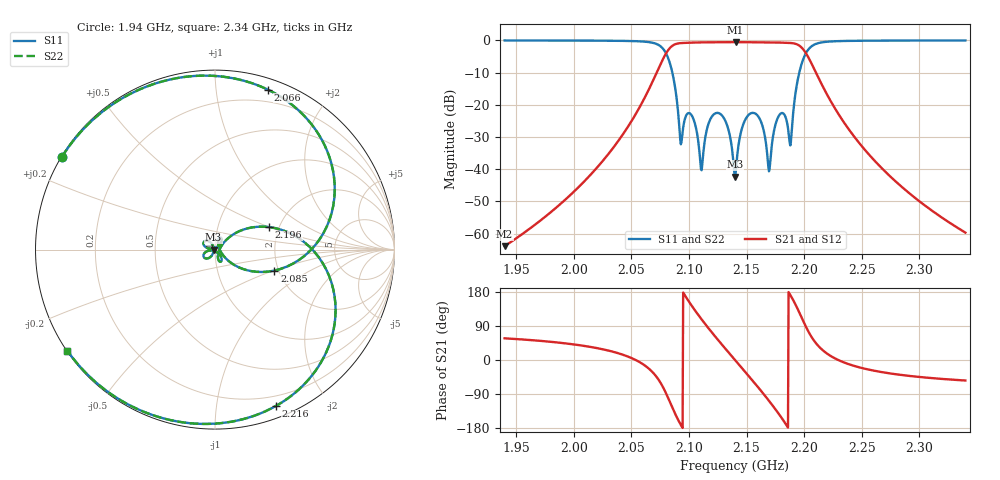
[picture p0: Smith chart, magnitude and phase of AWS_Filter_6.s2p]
!Port 1 is shunt  connected
!Port 2 is shunt  connected
!prototype= pole placed tchebycheff
!n=  5,  np= 0,  rl=  22.000dB
!transform= band pass
!f0= 2140.000MHz,  bw=  100.000MHz, q0=1050.000
!fstart= 1940.000MHz, fstep=  0.500MHz, fstop= 2340.000MHz
# MHZ S MA R 50
!Freq  Mag(S11)  Arg(S11)  Mag(S21)  Arg(S21)  Mag(S12)  Arg(S12)  Mag(S22)  Arg(S22)
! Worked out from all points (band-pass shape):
!   801 points, 1.94 GHz to 2.34 GHz, reference 50 ohm
!   highest |S21| = -0.55 dB at 2.14 GHz (marker M1); lowest = -63.9 dB at 1.94 GHz (marker M2)
!   |S21| within 3 dB of the highest: 2.081 GHz to 2.201 GHz (119.8 MHz wide, 5.6 % of centre)
!   lowest |S11| = -42.3 dB at 2.14 GHz (marker M3), VSWR 1.02, Z = 49.2 - j0.000171 ohm
!   |S11| at or under -10 dB: 2.086 GHz to 2.196 GHz (110.2 MHz wide, 5.15 % of centre)
!   |S22| runs from -42.3 to 0.0 dB; largest |S21 - S12| = 0
!   S11 on the Smith chart (normalised r, x): 1.94 GHz: 0.00, +0.28; 2.066 GHz: 0.09, +1.38; 2.085 GHz: 1.90, -0.51; 2.196 GHz: 1.78, +0.50; 2.216 GHz: 0.10, -1.46; 2.34 GHz: 0.00, -0.31
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1940  0.9969 148.8  0.0006383 57.2  0.0006383 57.2  0.9969 148.8
2007  0.9923 130.6  0.00591 38.2  0.00591 38.2  0.9923 130.6
2065.5  0.9386 71.7  0.1776 -23.6  0.1776 -23.6  0.9386 71.7
2073.5  0.8516 45.4  0.3616 -51.3  0.3616 -51.3  0.8516 45.4
2085  0.351 -19.5  0.8085 -121.4  0.8085 -121.4  0.351 -19.5
2093  0.02438 16.0  0.9074 -171.4  0.9074 -171.4  0.02438 16.0
2101.5  0.07186 59.8  0.9211 147.3  0.9211 147.3  0.07186 59.8
2112.5  0.01798 161.1  0.9317 101.3  0.9317 101.3  0.01798 161.1
2118  0.05658 164.2  0.933 79.9  0.933 79.9  0.05658 164.2
2126  0.07408 141.2  0.9344 50.3  0.9344 50.3  0.07408 141.2
2140  0.007634 -180.0  0.9385 -0.0  0.9385 -0.0  0.007634 -180.0
2140.5  0.008499 -155.5  0.9385 -1.8  0.9385 -1.8  0.008499 -155.5
2154.5  0.07452 -142.4  0.9351 -51.7  0.9351 -51.7  0.07452 -142.4
2162.5  0.05515 -165.0  0.9343 -81.0  0.9343 -81.0  0.05515 -165.0
2168  0.01684 -160.1  0.9334 -101.8  0.9334 -101.8  0.01684 -160.1
2179.5  0.07279 -60.6  0.9234 -148.6  0.9234 -148.6  0.07279 -60.6
2188  0.02336 -18.6  0.9114 171.7  0.9114 171.7  0.02336 -18.6
2196  0.3275 22.5  0.8249 124.3  0.8249 124.3  0.3275 22.5
2207  0.8218 -38.4  0.4171 58.1  0.4171 58.1  0.8218 -38.4
2216  0.9351 -68.8  0.1959 26.3  0.1959 26.3  0.9351 -68.8
2273.5  0.9922 -127.2  0.008108 -34.9  0.008108 -34.9  0.9922 -127.2
2340  0.9969 -145.6  0.001037 -54.1  0.001037 -54.1  0.9969 -145.6
